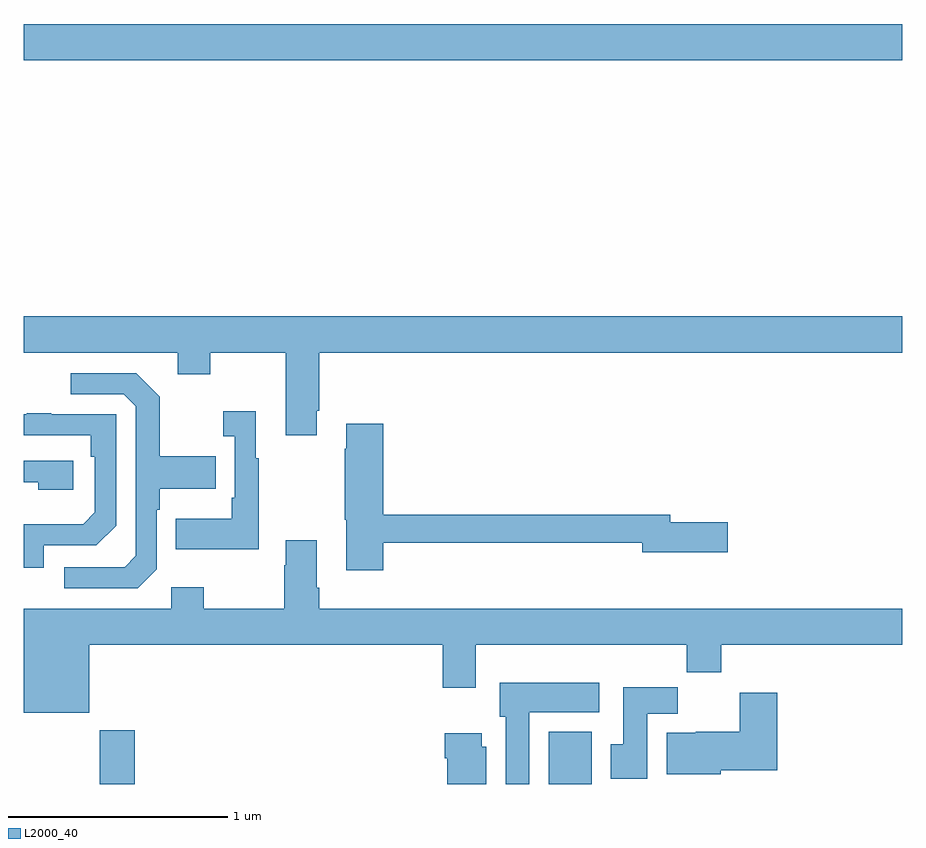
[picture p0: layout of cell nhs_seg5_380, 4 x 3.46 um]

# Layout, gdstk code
import gdstk
lib = gdstk.Library(unit=1e-6, precision=1e-09)
def R(c, l, rs):  # rectangles x0, y0, x1, y1
    for r in rs: c.add(gdstk.rectangle(r[:2], r[2:], *l))
def P(c, l, *ps):  # polygons
    for p in ps: c.add(gdstk.Polygon(p, *l))
L2000_40 = (2000, 40)

nhs_seg5_380 = lib.new_cell('nhs_seg5_380')
R(nhs_seg5_380, L2000_40, [(135.346,850.799,135.506,851.044), (137.391,850.799,137.587,851.038), (135,854.096,139,854.26)])
P(nhs_seg5_380, L2000_40, [(136.333,852.499),(136.346,852.499),(136.346,852.764),(139,852.764),(139,852.928),(135,852.928),(135,852.764),(135.701,852.764),(135.701,852.665),(135.849,852.665),(135.849,852.764),(136.193,852.764),(136.193,852.387),(136.333,852.387)],
  [(135.606,851.778),(135.606,852.047),(135.619,852.047),(135.619,852.143),(135.875,852.143),(135.875,852.291),(135.619,852.291),(135.619,852.563),(135.513,852.669),(135.213,852.669),(135.213,852.573),(135.456,852.573),(135.51,852.519),(135.51,851.838),(135.459,851.787),(135.183,851.787),(135.183,851.691),(135.519,851.691)],
  [(136.069,852.283),(136.057,852.283),(136.057,852.496),(135.909,852.496),(135.909,852.383),(135.96,852.383),(135.96,852.103),(135.948,852.103),(135.948,852.007),(135.691,852.007),(135.691,851.867),(136.069,851.867)],
  [(135.09,851.886),(135.33,851.886),(135.42,851.976),(135.42,852.483),(135.125,852.483),(135.125,852.488),(135.013,852.488),(135.013,852.483),(135,852.483),(135,852.387),(135.304,852.387),(135.304,852.29),(135.324,852.29),(135.324,852.036),(135.271,851.983),(135,851.983),(135,851.784),(135.09,851.784)],
  [(136.637,851.898),(137.816,851.898),(137.816,851.855),(138.205,851.855),(138.205,851.99),(137.944,851.99),(137.944,852.026),(136.637,852.026),(136.637,852.439),(136.469,852.439),(136.469,852.326),(136.462,852.326),(136.462,852.003),(136.469,852.003),(136.469,851.772),(136.637,851.772)],
  [(135.226,852.27),(135,852.27),(135,852.174),(135.065,852.174),(135.065,852.14),(135.226,852.14)],
  [(135.298,851.432),(136.907,851.432),(136.907,851.238),(137.059,851.238),(137.059,851.432),(138.019,851.432),(138.019,851.308),(138.176,851.308),(138.176,851.432),(139,851.432),(139,851.596),(136.346,851.596),(136.346,851.692),(136.333,851.692),(136.333,851.908),(136.193,851.908),(136.193,851.795),(136.186,851.795),(136.186,851.596),(135.819,851.596),(135.819,851.695),(135.672,851.695),(135.672,851.596),(135,851.596),(135,851.123),(135.298,851.123)],
  [(137.302,851.126),(137.62,851.126),(137.62,851.26),(137.168,851.26),(137.168,851.106),(137.195,851.106),(137.195,850.799),(137.302,850.799)],
  [(137.839,851.12),(137.978,851.12),(137.978,851.239),(137.729,851.239),(137.729,850.98),(137.672,850.98),(137.672,850.824),(137.839,850.824)],
  [(138.174,850.862),(138.431,850.862),(138.431,851.215),(138.26,851.215),(138.26,851.038),(138.06,851.038),(138.06,851.032),(137.927,851.032),(137.927,850.844),(138.174,850.844)],
  [(137.107,850.968),(137.086,850.968),(137.086,851.029),(136.916,851.029),(136.916,850.916),(136.928,850.916),(136.928,850.799),(137.107,850.799)])

lib.write_gds('nhs_seg5_380.gds')
